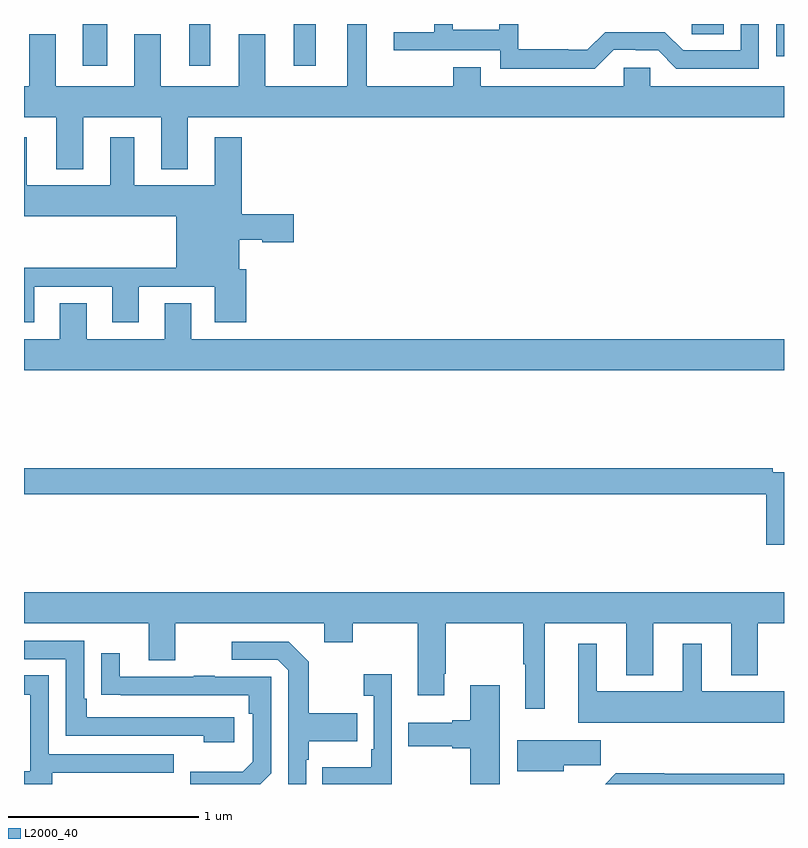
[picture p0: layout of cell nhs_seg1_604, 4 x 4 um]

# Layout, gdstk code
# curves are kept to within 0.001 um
import gdstk
lib = gdstk.Library(unit=1e-6, precision=1e-09)
def R(c, l, rs):  # rectangles x0, y0, x1, y1
    for r in rs: c.add(gdstk.rectangle(r[:2], r[2:], *l))
def P(c, l, *ps):  # polygons
    for p in ps: c.add(gdstk.Polygon(p, *l))
L2000_40 = (2000, 40)

nhs_seg1_604 = lib.new_cell('nhs_seg1_604')
R(nhs_seg1_604, L2000_40, [(143.309,575.979,143.437,576.199), (143.87,575.979,143.98,576.199), (144.419,575.979,144.535,576.199), (146.959,576.03,147,576.199), (146.514,576.145,146.682,576.199)])
P(nhs_seg1_604, L2000_40, [(146.103,576.063),(146.219,576.063),(146.219,576.06),(146.337,576.06),(146.433,575.964),(146.868,575.964),(146.868,576.199),(146.772,576.199),(146.772,576.06),(146.469,576.06),(146.373,576.156),(146.058,576.156),(145.965,576.063),(145.865,576.063),(145.865,576.067),(145.602,576.067),(145.602,576.199),(145.501,576.199),(145.501,576.169),(145.257,576.169),(145.257,576.199),(145.158,576.199),(145.158,576.156),(144.945,576.156),(144.945,576.06),(145.506,576.06),(145.506,575.963),(146.003,575.963)],
  [(145.864,576.199),(145.719,576.199),(145.719,576.197),(145.862,576.197)],
  [(143.311,575.708),(143.723,575.708),(143.723,575.435),(143.863,575.435),(143.863,575.708),(147,575.708),(147,575.872),(146.295,575.872),(146.295,575.97),(146.157,575.97),(146.157,575.872),(145.405,575.872),(145.405,575.971),(145.258,575.971),(145.258,575.872),(144.805,575.872),(144.805,576.199),(144.701,576.199),(144.701,575.872),(144.271,575.872),(144.271,576.145),(144.131,576.145),(144.131,575.872),(143.719,575.872),(143.719,576.145),(143.579,576.145),(143.579,575.872),(143.167,575.872),(143.167,576.145),(143.027,576.145),(143.027,575.872),(143,575.872),(143,575.708),(143.171,575.708),(143.171,575.435),(143.311,575.435)],
  [(143.053,574.815),(143.465,574.815),(143.465,574.629),(143.605,574.629),(143.605,574.815),(144.005,574.815),(144.005,574.629),(144.17,574.629),(144.17,574.908),(144.133,574.908),(144.133,575.063),(144.253,575.063),(144.253,575.051),(144.421,575.051),(144.421,575.198),(144.146,575.198),(144.146,575.602),(144.005,575.602),(144.005,575.35),(143.581,575.35),(143.581,575.602),(143.453,575.602),(143.453,575.35),(143.014,575.35),(143.014,575.602),(143,575.602),(143,575.186),(143.801,575.186),(143.801,574.916),(143,574.916),(143,574.629),(143.053,574.629)],
  [(147,574.54),(143.881,574.54),(143.881,574.73),(143.741,574.73),(143.741,574.54),(143.329,574.54),(143.329,574.73),(143.189,574.73),(143.189,574.54),(143,574.54),(143,574.376),(147,574.376)],
  [(147,573.84),(146.942,573.84),(146.942,573.86),(143,573.86),(143,573.724),(146.906,573.724),(146.906,573.459),(147,573.459)],
  [(145.741,573.044),(146.171,573.044),(146.171,572.771),(146.311,572.771),(146.311,573.044),(146.723,573.044),(146.723,572.771),(146.863,572.771),(146.863,573.044),(147,573.044),(147,573.208),(143,573.208),(143,573.044),(143.657,573.044),(143.657,572.85),(143.797,572.85),(143.797,573.044),(144.581,573.044),(144.581,572.945),(144.729,572.945),(144.729,573.044),(145.073,573.044),(145.073,572.667),(145.213,572.667),(145.213,572.779),(145.221,572.779),(145.221,573.044),(145.627,573.044),(145.627,572.828),(145.637,572.828),(145.637,572.595),(145.741,572.595)],
  [(144.106,572.55),(143.329,572.55),(143.329,572.647),(143.316,572.647),(143.316,572.952),(143,572.952),(143,572.856),(143.22,572.856),(143.22,572.454),(143.945,572.454),(143.945,572.42),(144.106,572.42)],
  [(144.486,572.327),(144.499,572.327),(144.499,572.423),(144.755,572.423),(144.755,572.571),(144.499,572.571),(144.499,572.843),(144.393,572.949),(144.093,572.949),(144.093,572.853),(144.336,572.853),(144.39,572.799),(144.39,572.199),(144.486,572.199)],
  [(147,572.686),(146.566,572.686),(146.566,572.938),(146.468,572.938),(146.468,572.686),(146.014,572.686),(146.014,572.938),(145.916,572.938),(145.916,572.522),(147,572.522)],
  [(144.3,572.256),(144.3,572.763),(144.005,572.763),(144.005,572.768),(143.893,572.768),(143.893,572.763),(143.503,572.763),(143.503,572.887),(143.407,572.887),(143.407,572.668),(144.184,572.667),(144.184,572.57),(144.204,572.57),(144.204,572.316),(144.151,572.263),(143.874,572.263),(143.874,572.199),(144.243,572.199)],
  [(144.936,572.776),(144.789,572.776),(144.789,572.663),(144.84,572.663),(144.84,572.383),(144.828,572.383),(144.828,572.287),(144.571,572.287),(144.571,572.199),(144.936,572.199)],
  [(143.149,572.259),(143.789,572.259),(143.789,572.355),(143.13,572.355),(143.13,572.771),(143,572.771),(143,572.67),(143.034,572.67),(143.034,572.265),(143,572.265),(143,572.199),(143.149,572.199)],
  [(145.504,572.719),(145.349,572.719),(145.349,572.534),(145.253,572.534),(145.253,572.521),(145.023,572.521),(145.023,572.399),(145.253,572.399),(145.253,572.387),(145.349,572.387),(145.349,572.199),(145.504,572.199)],
  [(145.84,572.299),(146.035,572.299),(146.035,572.428),(145.596,572.428),(145.596,572.267),(145.84,572.267)],
  [(147,572.252),(146.369,572.252),(146.369,572.255),(146.114,572.255),(146.058,572.199),(147,572.199)])

lib.write_gds('nhs_seg1_604.gds')
